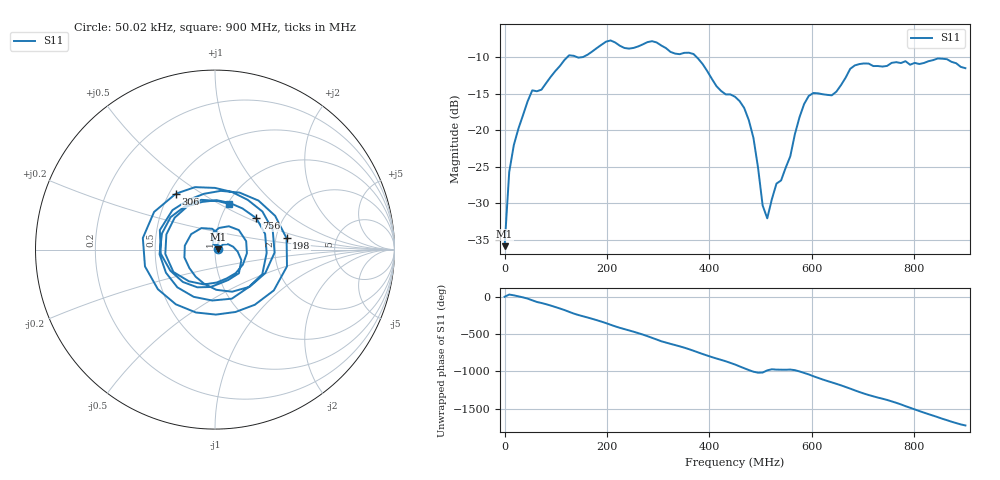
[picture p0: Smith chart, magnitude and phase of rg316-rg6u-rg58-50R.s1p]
! File created by NanoVNA (https://gen111.taobao.com/) [MOD v2.0 by alex_m]
! Start 50016Hz  Stop 899999916Hz  Points 101
# Hz S MA R 50
!S - Parameter data, F S11
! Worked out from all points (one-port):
!   101 points, 50.02 kHz to 900 MHz, reference 50 ohm
!   lowest |S11| = -35.9 dB at 50.02 kHz (marker M1), VSWR 1.03, Z = 51.6 + j0.0929 ohm
!   |S11| at or under -10 dB: start of sweep to 122.3 MHz; 142 MHz to 150.7 MHz (8.753 MHz wide, 5.98 % of centre); 375.3 MHz to end of sweep
!   S11 on the Smith chart (normalised r, x): 50.02 kHz: 1.03, +0.00; 198 MHz: 2.29, +0.34; 306 MHz: 0.54, +0.39; 756 MHz: 1.47, +0.56; 900 MHz: 1.01, +0.56
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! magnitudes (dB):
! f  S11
! 50.02 kHz  -35.9
! 9.049 MHz  -25.7
! 27.05 MHz  -19.8
! 54.05 MHz  -14.5
! 72.05 MHz  -14.4
! 117 MHz  -10.4
! 198 MHz  -7.9
! 234 MHz  -8.7
! 306 MHz  -8.4
! 342 MHz  -9.6
! 369 MHz  -9.6
! 423 MHz  -14.6
! 459 MHz  -16.0
! 477 MHz  -18.6
! 486 MHz  -21.0
! 504 MHz  -30.3
! 513 MHz  -32.1
! 531 MHz  -27.3
! 540 MHz  -26.9
! 558 MHz  -23.6
! 567 MHz  -20.5
! 594 MHz  -15.3
! 639 MHz  -15.2
! 684 MHz  -11.1
! 756 MHz  -10.8
! 792 MHz  -11.0
! 855 MHz  -10.2
! 900 MHz  -11.5
